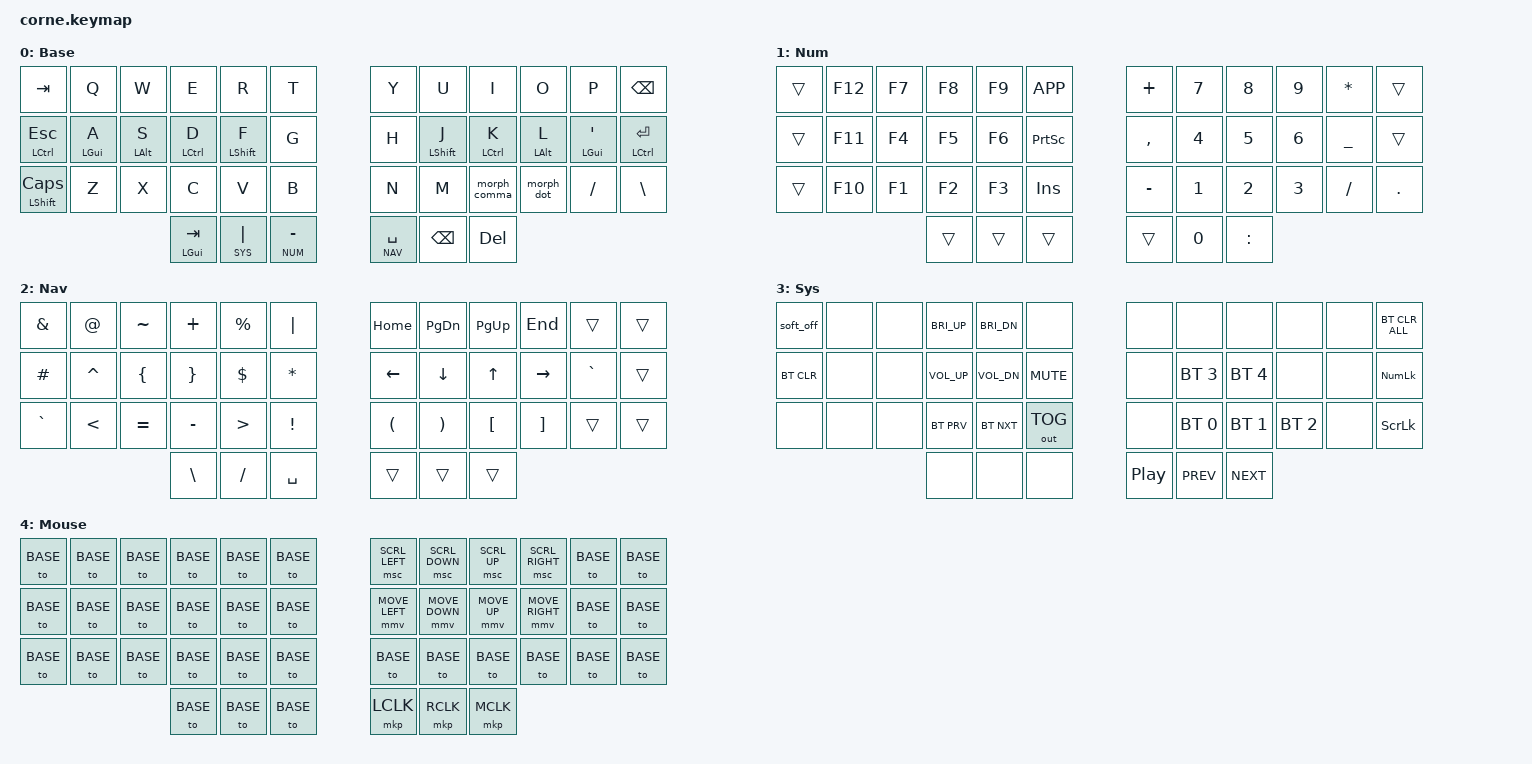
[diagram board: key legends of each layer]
/*
 * Copyright (c) 2020 The ZMK Contributors
 *
 * SPDX-License-Identifier: MIT
 */

#include <behaviors.dtsi>
#include <dt-bindings/zmk/bt.h>
#include <dt-bindings/zmk/keys.h>
#include <dt-bindings/zmk/outputs.h>
#include <dt-bindings/zmk/pointing.h>

// Layers
#define BASE 0
#define NUM 1
#define NAV 2
#define SYS 3
#define MOUSE 4

#define ___ &trans
#define _x_ &none
#define _0_ &to BASE

#include "includes/corne-keys.h"
#include "includes/mods.dtsi"
#include "includes/morphs.dtsi"
#include "includes/combos.dtsi"
#include "includes/settings.dtsi"

/ {

    keymap {
        compatible = "zmk,keymap";

        layer_qwerty {
            display-name = "Base";
            bindings = <
&kp TAB        &kp Q        &kp W        &kp E         &kp R         &kp T          &kp Y         &kp U         &kp I         &kp O        &kp P          &kp BSPC
&mt LCTRL ESC  &hml LGUI A  &hml LALT S  &hml LCTRL D  &hml LSHFT F  &kp G          &kp H         &hmr LSHFT J  &hmr LCTRL K  &hmr LALT L  &hmr LGUI SQT  &mt LCTRL RET
&mt LSHFT CAPS &kp Z        &kp X        &kp C         &kp V         &kp B          &kp N         &kp M         &morph_comma  &morph_dot   &kp FSLH       &kp BSLH
                                         &mt LGUI TAB  &lt SYS PIPE  &lt NUM MINUS  &lt NAV SPACE &kp BSPC      &kp DEL
            >;
        };

        layer_numpad {
            display-name = "Num";
            bindings = <
___  &kp F12  &kp F7  &kp F8  &kp F9  &kp K_APP       &kp PLUS   &kp N7  &kp N8   &kp N9  &kp STAR   ___
___  &kp F11  &kp F4  &kp F5  &kp F6  &kp PRINTSCREEN &kp COMMA  &kp N4  &kp N5   &kp N6  &kp UNDER  ___
___  &kp F10  &kp F1  &kp F2  &kp F3  &kp INS         &kp MINUS  &kp N1  &kp N2   &kp N3  &kp FSLH   &kp DOT
                      ___     ___     ___             ___        &kp N0  &kp COLON
            >;
        };

        layer_navigation {
            display-name = "Nav";
            bindings = <
&kp AMPS   &kp AT     &kp TILDE  &kp PLUS   &kp PRCNT  &kp PIPE     &kp HOME  &kp PG_DN  &kp PG_UP  &kp END    ___        ___
&kp HASH   &kp CARET  &kp LBRC   &kp RBRC   &kp DLLR   &kp STAR     &kp LEFT  &kp DOWN   &kp UP     &kp RIGHT  &kp GRAVE  ___
&kp GRAVE  &kp LT     &kp EQUAL  &kp MINUS  &kp GT     &kp EXCL     &kp LPAR  &kp RPAR   &kp LBKT   &kp RBKT   ___        ___
                                 &kp BSLH   &kp FSLH   &kp SPACE    ___       ___        ___
            >;
        };

        layer_system {
            display-name = "Sys";
            bindings = <
&soft_off   _x_  _x_  &kp C_BRI_UP  &kp C_BRI_DN  _x_             _x_               _x_           _x_           _x_           _x_ &bt BT_CLR_ALL
&bt BT_CLR  _x_  _x_  &kp C_VOL_UP  &kp C_VOL_DN  &kp C_MUTE      _x_               &bt BT_SEL 3  &bt BT_SEL 4  _x_           _x_ &kp KP_NUMLOCK
_x_         _x_  _x_  &bt BT_PRV    &bt BT_NXT    &out OUT_TOG    _x_               &bt BT_SEL 0  &bt BT_SEL 1  &bt BT_SEL 2  _x_ &kp SCROLLLOCK
                      _x_           _x_           _x_             &kp C_PLAY_PAUSE  &kp C_PREV    &kp C_NEXT
            >;
        };

        layer_mouse {
            display-name = "Mouse";
            bindings = <
_0_  _0_  _0_  _0_  _0_  _0_    &msc SCRL_LEFT  &msc SCRL_DOWN  &msc SCRL_UP  &msc SCRL_RIGHT  _0_  _0_
_0_  _0_  _0_  _0_  _0_  _0_    &mmv MOVE_LEFT  &mmv MOVE_DOWN  &mmv MOVE_UP  &mmv MOVE_RIGHT  _0_  _0_
_0_  _0_  _0_  _0_  _0_  _0_    _0_          _0_          _0_        _0_           _0_  _0_
                        _0_  _0_  _0_    &mkp LCLK       &mkp RCLK       &mkp MCLK
            >;
        };

        extra_1 { status = "reserved"; };

        extra_2 { status = "reserved"; };

        extra_3 { status = "reserved"; };
    };
};
